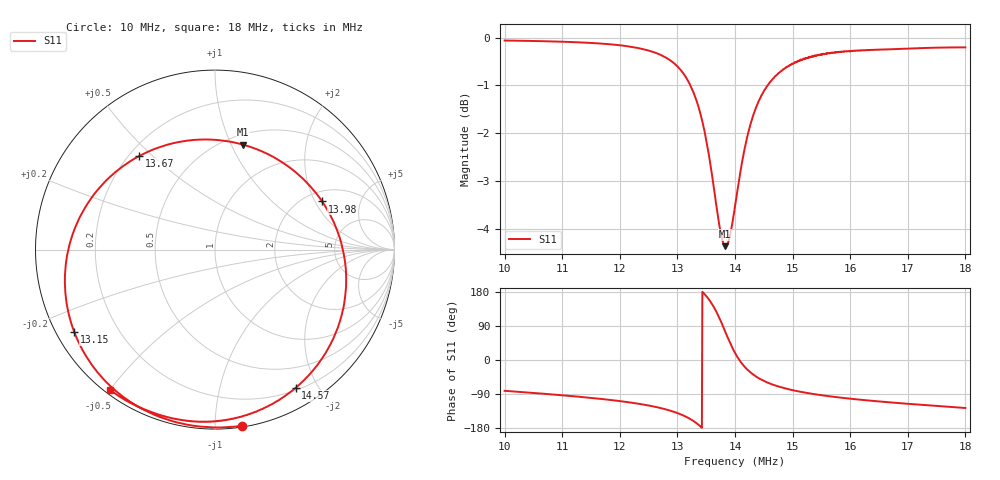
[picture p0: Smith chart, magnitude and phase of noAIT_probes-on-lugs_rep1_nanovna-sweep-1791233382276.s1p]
! NanoVNA Web complex sweep
! Processing: unaveraged complex samples; linear segment spacing; no smoothing
# Hz S RI R 50
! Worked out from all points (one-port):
!   1010 points, 10 MHz to 18 MHz, reference 50 ohm
!   lowest |S11| = -4.4 dB at 13.83 MHz (marker M1), VSWR 4.06, Z = 30 + j55.4 ohm
!   |S11| at or under -10 dB: nowhere
!   S11 on the Smith chart (normalised r, x): 10 MHz: 0.01, -1.16; 13.15 MHz: 0.05, -0.27; 13.67 MHz: 0.24, +0.46; 13.98 MHz: 2.43, +2.28; 14.57 MHz: 0.23, -1.72; 18 MHz: 0.01, -0.50
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1e7  0.1494 -0.9818
1.100698e7  -0.0539 -0.9886
1.200604e7  -0.3121 -0.9308
1.260071e7  -0.5272 -0.8083
1.282272e7  -0.6276 -0.7148
1.300509e7  -0.7171 -0.5961
1.314781e7  -0.7838 -0.4603
1.330639e7  -0.8337 -0.2414
1.345704e7  -0.8037 0.0524
1.356805e7  -0.6731 0.309
1.362355e7  -0.5548 0.432
1.367113e7  -0.4213 0.5217
1.375042e7  -0.1481 0.6078
1.382971e7  0.1551 0.5849
1.3909e7  0.4228 0.4524
1.398036e7  0.5963 0.2686
1.400414e7  0.6378 0.2006
1.405965e7  0.7021 0.0423
1.411515e7  0.7289 -0.1076
1.42658e7  0.6844 -0.4347
1.44006e7  0.583 -0.6258
1.45671e7  0.4488 -0.7705
1.47574e7  0.312 -0.8634
1.50032e7  0.1685 -0.9239
1.544722e7  -0.0287 -0.9576
1.600225e7  -0.2017 -0.946
1.700131e7  -0.4206 -0.8783
1.800036e7  -0.5834 -0.7834
